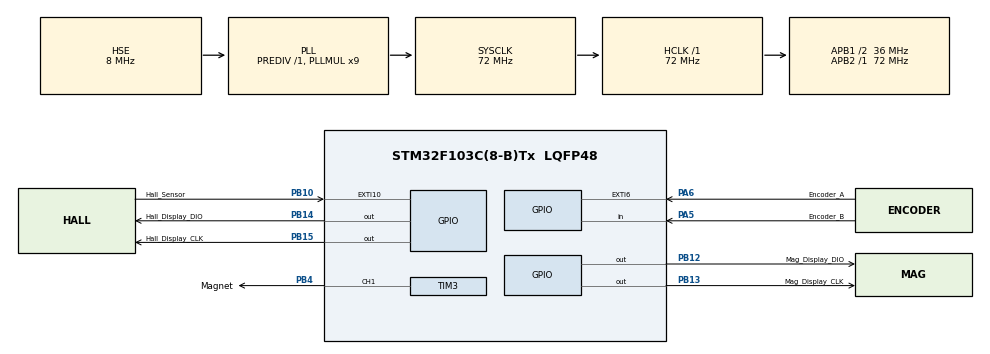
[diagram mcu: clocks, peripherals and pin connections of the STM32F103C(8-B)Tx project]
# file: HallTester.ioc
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Mcu.Family=STM32F1
Mcu.Name=STM32F103C(8-B)Tx
Mcu.Package=LQFP48
NVIC.EXTI15_10_IRQn=true\:0\:0\:false\:false\:true\:true\:true\:true
NVIC.EXTI9_5_IRQn=true\:0\:0\:false\:false\:true\:true\:true\:true
NVIC.PriorityGroup=NVIC_PRIORITYGROUP_4
NVIC.TIM2_IRQn=true\:0\:0\:false\:false\:true\:true\:true\:true
PA13.Mode=Serial_Wire
PA13.Signal=SYS_JTMS-SWDIO
PA14.Mode=Serial_Wire
PA14.Signal=SYS_JTCK-SWCLK
PA5.GPIO_Label=Encoder_B
PA5.Signal=GPIO_Input
PA6.GPIO_Label=Encoder_A
PA6.GPIO_ModeDefaultEXTI=GPIO_MODE_IT_RISING_FALLING
PA6.GPIO_PuPd=GPIO_PULLDOWN
PA6.Signal=GPXTI6
PB10.GPIO_Label=Hall_Sensor
PB10.GPIO_ModeDefaultEXTI=GPIO_MODE_IT_FALLING
PB10.GPIO_PuPd=GPIO_PULLUP
PB10.Signal=GPXTI10
PB12.GPIO_Label=Mag_Display_DIO
PB12.GPIO_ModeDefaultOutputPP=GPIO_MODE_OUTPUT_OD
PB12.GPIO_PuPd=GPIO_NOPULL
PB12.Signal=GPIO_Output
PB13.GPIO_Label=Mag_Display_CLK
PB13.GPIO_ModeDefaultOutputPP=GPIO_MODE_OUTPUT_OD
PB13.GPIO_PuPd=GPIO_NOPULL
PB13.Signal=GPIO_Output
PB14.GPIO_Label=Hall_Display_DIO
PB14.GPIO_ModeDefaultOutputPP=GPIO_MODE_OUTPUT_OD
PB14.GPIO_PuPd=GPIO_NOPULL
PB14.Signal=GPIO_Output
PB15.GPIO_Label=Hall_Display_CLK
PB15.GPIO_ModeDefaultOutputPP=GPIO_MODE_OUTPUT_OD
PB15.GPIO_PuPd=GPIO_NOPULL
PB15.Signal=GPIO_Output
PB4.GPIO_Label=Magnet
PB4.Signal=S_TIM3_CH1
PD0-OSC_IN.Mode=HSE-External-Oscillator
PD0-OSC_IN.Signal=RCC_OSC_IN
PD1-OSC_OUT.Mode=HSE-External-Oscillator
PD1-OSC_OUT.Signal=RCC_OSC_OUT
ProjectManager.HeapSize=0x200
ProjectManager.StackSize=0x400
ProjectManager.TargetToolchain=STM32CubeIDE
RCC.AHBFreq_Value=72000000
RCC.APB1CLKDivider=RCC_HCLK_DIV2
RCC.APB1Freq_Value=36000000
RCC.APB1TimFreq_Value=72000000
RCC.APB2Freq_Value=72000000
RCC.APB2TimFreq_Value=72000000
RCC.HCLKFreq_Value=72000000
RCC.PLLMUL=RCC_PLL_MUL9
RCC.PLLSourceVirtual=RCC_PLLSOURCE_HSE
RCC.SYSCLKFreq_VALUE=72000000
RCC.SYSCLKSource=RCC_SYSCLKSOURCE_PLLCLK
RCC.USBFreq_Value=72000000
SH.S_TIM3_CH1.0=TIM3_CH1,PWM Generation1 CH1
TIM2.Period=62499
TIM2.Prescaler=1151
TIM3.Channel-PWM\ Generation1\ CH1=TIM_CHANNEL_1
TIM3.Period=261
TIM3.Prescaler=548
TIM3.Pulse-PWM\ Generation1\ CH1=130
VP_TIM2_VS_ClockSourceINT.Mode=Internal
board=custom

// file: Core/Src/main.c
/* USER CODE BEGIN Header */
/**
  ******************************************************************************
  * @file           : main.c
  * @brief          : Main program body
  ******************************************************************************
  * @attention
  *
  * Copyright (c) 2025 STMicroelectronics.
  * All rights reserved.
  *
  * This software is licensed under terms that can be found in the LICENSE file
  * in the root directory of this software component.
  * If no LICENSE file comes with this software, it is provided AS-IS.
  *
  ******************************************************************************
  */
/* USER CODE END Header */
#include "main.h"

/* USER CODE BEGIN Includes */
#include "stdbool.h"
#include "tm1637.h"
/* USER CODE END Includes */

/* USER CODE BEGIN PD */
#define DELAY_BEFORE_UPDATE 4
#define TIM3_PSC 548
#define TIM3_DEFAULT_FREQ 500
#define TIM3_MAX_FREQ 999
#define TIM3_MIN_FREQ 15
#define ENCODER_GAIN 5
#define CIRCLE_MASK 0x63
/* USER CODE END PD */

TIM_HandleTypeDef htim2;
TIM_HandleTypeDef htim3;

/* USER CODE BEGIN PV */
const uint8_t circle[1] = {CIRCLE_MASK};
const uint8_t emptySegment[1] = {0x0};

volatile uint8_t updateDelayCounter = 0;
uint16_t timesDetected = 0;
uint16_t measuredFreq = 0;
int16_t encoderPos = 0;
uint16_t magFreq = TIM3_DEFAULT_FREQ;

bool hallState = 0;
bool hallPrevState = 0;
bool hallProcessing = 0;

tm1637_t Mag_Display;
tm1637_t Hall_Display;
/* USER CODE END PV */

void SystemClock_Config(void);
static void MX_GPIO_Init(void);
static void MX_TIM2_Init(void);
static void MX_TIM3_Init(void);

/* USER CODE BEGIN 0 */
//Определяет направление вращения энкодера (1 - по часовой, 0 - против)
bool FindRotDirection(void){
	bool clkState = HAL_GPIO_ReadPin(Encoder_A_GPIO_Port, Encoder_A_Pin);
	bool dtState = HAL_GPIO_ReadPin(Encoder_B_GPIO_Port, Encoder_B_Pin);

	// Если состояния CLK и DT совпадают, вращение по часовой стрелке.
	// Если различаются, вращение против часовой стрелки.
	return (clkState == dtState);
}

//Обновляет заданную частоту магнита
void UpdMagFreq(void){
	//Проверка на три вращения в одну сторону подряд
	bool encState = FindRotDirection();
	for(int i = 0; i != 3; ++i){
		if (encState != FindRotDirection())
			return;
	}

	//Счисление заданной частоты
	if(encState)
		magFreq += ENCODER_GAIN;
	else if(magFreq == 999)
		magFreq = 995; //Уменьшение с 999 до 995, чтобы сохранять кратные 5-ти значениям
	else
		magFreq -= ENCODER_GAIN;
	magFreq = (magFreq < TIM3_MIN_FREQ) ? TIM3_MIN_FREQ : magFreq;
	magFreq = (magFreq > TIM3_MAX_FREQ) ? TIM3_MAX_FREQ : magFreq;
	tm1637_write_int(&Mag_Display, magFreq, 0);
}

//Проверяет наличие восходящего фронта магнитного поля
void FieldDetect(void){
	hallProcessing = true; //Блокирующий флаг для прерываний по датчику Холла
	for(int i = 0; i != 5; ++i){
		if(HAL_GPIO_ReadPin(Hall_Sensor_GPIO_Port, Hall_Sensor_Pin)){ //Датчик Холла использует инвертированную логику
			hallProcessing = false;
			return;
		}
	}
	hallProcessing = false;
	++timesDetected; //Если восходящий фронт зафиксирован - увеличиваем количество фиксаций
}

//Обновляет частоту таймера 3 в соответствии с заданной
void UpdTim3Freq(uint16_t desiredFreq){
	uint32_t sysClockFreq = HAL_RCC_GetSysClockFreq();
	uint32_t arr = sysClockFreq/(desiredFreq * (TIM3_PSC + 1)) - 1;
	if (arr > 0xFFFF) arr = 0xFFFF;

	HAL_TIM_PWM_Stop(&htim3, 1);
	TIM3->ARR = arr;
	TIM3->CCR1 = arr/2;
	HAL_TIM_PWM_Start(&htim3, 1);
}

void EncoderInterruptHandler(void){
	UpdMagFreq();
	updateDelayCounter = 1; //Запуск счётчика до обновления
	tm1637_write_segment(&Mag_Display, circle, 1, 3); //Условное обозначение, что частота была изменена и подлежит обновлению
}

//Обрабатывает прерывание по двум возможным каналам
void HAL_GPIO_EXTI_Callback(uint16_t GPIO_Pin) {
	if((GPIO_Pin == Hall_Sensor_Pin) && (!hallProcessing)){ //Прерывание по датчику Холла
		FieldDetect();
	}else if(GPIO_Pin == Encoder_A_Pin){ //Прерывание по энкодеру
		EncoderInterruptHandler();
	}
}

//Обрабатывает прерывание по таймеру
void HAL_TIM_PeriodElapsedCallback(TIM_HandleTypeDef *htim){
	if(htim->Instance == TIM2){
		measuredFreq = timesDetected; //По истечению секунды измеренная частота будет равна количеству фиксаций
		timesDetected = 0; //Сброс счётчика фиксаций

		if(updateDelayCounter){ //Если счётчик запущён, ждём ещё три прерывания
			if(updateDelayCounter == DELAY_BEFORE_UPDATE){
				UpdTim3Freq(magFreq); //Частота обновляется
				updateDelayCounter = 0; //Счётчик сбрасывается
				tm1637_write_segment(&Mag_Display, emptySegment, 1, 3); //Условное обозначение сбрасыватся
			}else updateDelayCounter++;
		}
		tm1637_write_int(&Hall_Display, measuredFreq, 0);
	}
}

//Локальная функция инициализации дисплеев, проведение теста (моргание всеми сегментами)
void DisplayInit(void){
	  tm1637_init(&Mag_Display, Mag_Display_CLK_GPIO_Port, Mag_Display_CLK_Pin, Mag_Display_DIO_GPIO_Port, Mag_Display_DIO_Pin);
	  tm1637_init(&Hall_Display, Hall_Display_CLK_GPIO_Port, Hall_Display_CLK_Pin, Hall_Display_DIO_GPIO_Port, Hall_Display_DIO_Pin);

	  tm1637_brightness(&Mag_Display, 4);
	  tm1637_brightness(&Hall_Display, 4);

	  tm1637_fill(&Mag_Display, 1);
	  tm1637_fill(&Hall_Display, 1);
	  HAL_Delay(1000);
	  tm1637_fill(&Mag_Display, 0);
	  tm1637_fill(&Hall_Display, 0);

	  tm1637_write_int(&Mag_Display, magFreq, 0);
}
/* USER CODE END 0 */

int main(void)
{

  /* MCU Configuration--------------------------------------------------------*/

  /* Reset of all peripherals, Initializes the Flash interface and the Systick. */
  HAL_Init();

  /* Configure the system clock */
  SystemClock_Config();

  /* Initialize all configured peripherals */
  MX_GPIO_Init();
  MX_TIM2_Init();
  MX_TIM3_Init();
  /* USER CODE BEGIN 2 */
  DisplayInit();

  HAL_TIM_Base_Start_IT(&htim2);
  HAL_TIM_PWM_Start(&htim3, TIM_CHANNEL_1);
  /* USER CODE END 2 */

  /* Infinite loop */
  while (1)
  {

  }
}

void SystemClock_Config(void)
{
  RCC_OscInitTypeDef RCC_OscInitStruct = {0};
  RCC_ClkInitTypeDef RCC_ClkInitStruct = {0};

  /** Initializes the RCC Oscillators according to the specified parameters
  * in the RCC_OscInitTypeDef structure.
  */
  RCC_OscInitStruct.OscillatorType = RCC_OSCILLATORTYPE_HSE;
  RCC_OscInitStruct.HSEState = RCC_HSE_ON;
  RCC_OscInitStruct.HSEPredivValue = RCC_HSE_PREDIV_DIV1;
  RCC_OscInitStruct.HSIState = RCC_HSI_ON;
  RCC_OscInitStruct.PLL.PLLState = RCC_PLL_ON;
  RCC_OscInitStruct.PLL.PLLSource = RCC_PLLSOURCE_HSE;
  RCC_OscInitStruct.PLL.PLLMUL = RCC_PLL_MUL9;
  if (HAL_RCC_OscConfig(&RCC_OscInitStruct) != HAL_OK)
  {
    Error_Handler();
  }

  /** Initializes the CPU, AHB and APB buses clocks
  */
  RCC_ClkInitStruct.ClockType = RCC_CLOCKTYPE_HCLK|RCC_CLOCKTYPE_SYSCLK
                              |RCC_CLOCKTYPE_PCLK1|RCC_CLOCKTYPE_PCLK2;
  RCC_ClkInitStruct.SYSCLKSource = RCC_SYSCLKSOURCE_PLLCLK;
  RCC_ClkInitStruct.AHBCLKDivider = RCC_SYSCLK_DIV1;
  RCC_ClkInitStruct.APB1CLKDivider = RCC_HCLK_DIV2;
  RCC_ClkInitStruct.APB2CLKDivider = RCC_HCLK_DIV1;

  if (HAL_RCC_ClockConfig(&RCC_ClkInitStruct, FLASH_LATENCY_2) != HAL_OK)
  {
    Error_Handler();
  }
}

static void MX_TIM2_Init(void)
{

  TIM_ClockConfigTypeDef sClockSourceConfig = {0};
  TIM_MasterConfigTypeDef sMasterConfig = {0};

  htim2.Instance = TIM2;
  htim2.Init.Prescaler = 1151;
  htim2.Init.CounterMode = TIM_COUNTERMODE_UP;
  htim2.Init.Period = 62499;
  htim2.Init.ClockDivision = TIM_CLOCKDIVISION_DIV1;
  htim2.Init.AutoReloadPreload = TIM_AUTORELOAD_PRELOAD_DISABLE;
  if (HAL_TIM_Base_Init(&htim2) != HAL_OK)
  {
    Error_Handler();
  }
  sClockSourceConfig.ClockSource = TIM_CLOCKSOURCE_INTERNAL;
  if (HAL_TIM_ConfigClockSource(&htim2, &sClockSourceConfig) != HAL_OK)
  {
    Error_Handler();
  }
  sMasterConfig.MasterOutputTrigger = TIM_TRGO_RESET;
  sMasterConfig.MasterSlaveMode = TIM_MASTERSLAVEMODE_DISABLE;
  if (HAL_TIMEx_MasterConfigSynchronization(&htim2, &sMasterConfig) != HAL_OK)
  {
    Error_Handler();
  }

}

static void MX_TIM3_Init(void)
{

  TIM_MasterConfigTypeDef sMasterConfig = {0};
  TIM_OC_InitTypeDef sConfigOC = {0};

  htim3.Instance = TIM3;
  htim3.Init.Prescaler = 548;
  htim3.Init.CounterMode = TIM_COUNTERMODE_UP;
  htim3.Init.Period = 261;
  htim3.Init.ClockDivision = TIM_CLOCKDIVISION_DIV1;
  htim3.Init.AutoReloadPreload = TIM_AUTORELOAD_PRELOAD_DISABLE;
  if (HAL_TIM_PWM_Init(&htim3) != HAL_OK)
  {
    Error_Handler();
  }
  sMasterConfig.MasterOutputTrigger = TIM_TRGO_RESET;
  sMasterConfig.MasterSlaveMode = TIM_MASTERSLAVEMODE_DISABLE;
  if (HAL_TIMEx_MasterConfigSynchronization(&htim3, &sMasterConfig) != HAL_OK)
  {
    Error_Handler();
  }
  sConfigOC.OCMode = TIM_OCMODE_PWM1;
  sConfigOC.Pulse = 130;
  sConfigOC.OCPolarity = TIM_OCPOLARITY_HIGH;
  sConfigOC.OCFastMode = TIM_OCFAST_DISABLE;
  if (HAL_TIM_PWM_ConfigChannel(&htim3, &sConfigOC, TIM_CHANNEL_1) != HAL_OK)
  {
    Error_Handler();
  }
  HAL_TIM_MspPostInit(&htim3);

}

static void MX_GPIO_Init(void)
{
  GPIO_InitTypeDef GPIO_InitStruct = {0};

  /* GPIO Ports Clock Enable */
  __HAL_RCC_GPIOD_CLK_ENABLE();
  __HAL_RCC_GPIOA_CLK_ENABLE();
  __HAL_RCC_GPIOB_CLK_ENABLE();

  /*Configure GPIO pin Output Level */
  HAL_GPIO_WritePin(GPIOB, Mag_Display_DIO_Pin|Mag_Display_CLK_Pin|Hall_Display_DIO_Pin|Hall_Display_CLK_Pin, GPIO_PIN_RESET);

  /*Configure GPIO pin : Encoder_B_Pin */
  GPIO_InitStruct.Pin = Encoder_B_Pin;
  GPIO_InitStruct.Mode = GPIO_MODE_INPUT;
  GPIO_InitStruct.Pull = GPIO_NOPULL;
  HAL_GPIO_Init(Encoder_B_GPIO_Port, &GPIO_InitStruct);

  /*Configure GPIO pin : Encoder_A_Pin */
  GPIO_InitStruct.Pin = Encoder_A_Pin;
  GPIO_InitStruct.Mode = GPIO_MODE_IT_RISING_FALLING;
  GPIO_InitStruct.Pull = GPIO_PULLDOWN;
  HAL_GPIO_Init(Encoder_A_GPIO_Port, &GPIO_InitStruct);

  /*Configure GPIO pin : Hall_Sensor_Pin */
  GPIO_InitStruct.Pin = Hall_Sensor_Pin;
  GPIO_InitStruct.Mode = GPIO_MODE_IT_FALLING;
  GPIO_InitStruct.Pull = GPIO_PULLUP;
  HAL_GPIO_Init(Hall_Sensor_GPIO_Port, &GPIO_InitStruct);

  /*Configure GPIO pins : Mag_Display_DIO_Pin Mag_Display_CLK_Pin Hall_Display_DIO_Pin Hall_Display_CLK_Pin */
  GPIO_InitStruct.Pin = Mag_Display_DIO_Pin|Mag_Display_CLK_Pin|Hall_Display_DIO_Pin|Hall_Display_CLK_Pin;
  GPIO_InitStruct.Mode = GPIO_MODE_OUTPUT_OD;
  GPIO_InitStruct.Pull = GPIO_NOPULL;
  GPIO_InitStruct.Speed = GPIO_SPEED_FREQ_LOW;
  HAL_GPIO_Init(GPIOB, &GPIO_InitStruct);

  /* EXTI interrupt init*/
  HAL_NVIC_SetPriority(EXTI9_5_IRQn, 0, 0);
  HAL_NVIC_EnableIRQ(EXTI9_5_IRQn);

  HAL_NVIC_SetPriority(EXTI15_10_IRQn, 0, 0);
  HAL_NVIC_EnableIRQ(EXTI15_10_IRQn);

}

void Error_Handler(void)
{
  __disable_irq();
  while (1)
  {
  }
}
